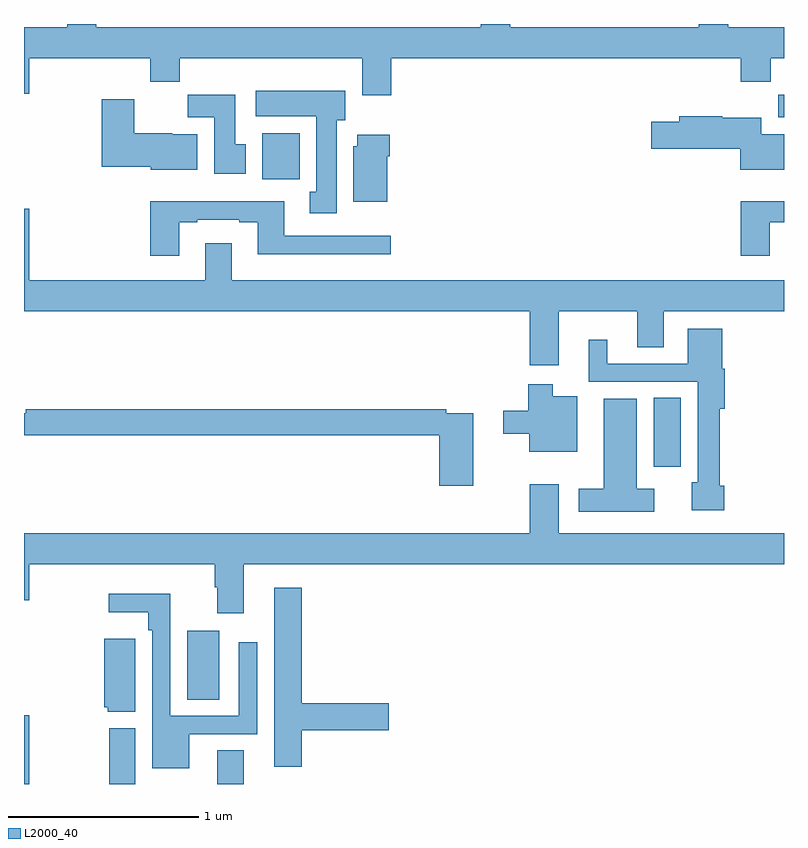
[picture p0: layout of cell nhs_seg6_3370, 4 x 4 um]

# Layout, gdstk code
import gdstk
lib = gdstk.Library(unit=1e-6, precision=1e-09)
def R(c, l, rs):  # rectangles x0, y0, x1, y1
    for r in rs: c.add(gdstk.rectangle(r[:2], r[2:], *l))
def P(c, l, *ps):  # polygons
    for p in ps: c.add(gdstk.Polygon(p, *l))
L2000_40 = (2000, 40)

nhs_seg6_3370 = lib.new_cell('nhs_seg6_3370')
R(nhs_seg6_3370, L2000_40, [(309,959.5,309.028,959.863), (309.448,959.5,309.586,959.794), (310.016,959.5,310.156,959.678), (309.86,959.944,310.027,960.307), (312.314,961.17,312.457,961.532), (310.253,962.684,310.45,962.926), (312.97,963.008,313,963.127)])
P(nhs_seg6_3370, L2000_40, [(310.934,963.32),(312.773,963.32),(312.773,963.196),(312.929,963.196),(312.929,963.32),(313,963.32),(313,963.484),(312.707,963.484),(312.707,963.5),(312.551,963.5),(312.551,963.484),(311.558,963.484),(311.558,963.5),(311.405,963.5),(311.405,963.484),(309.38,963.484),(309.38,963.5),(309.227,963.5),(309.227,963.484),(309,963.484),(309,963.132),(309.028,963.132),(309.028,963.32),(309.665,963.32),(309.665,963.196),(309.821,963.196),(309.821,963.32),(310.781,963.32),(310.781,963.126),(310.934,963.126)],
  [(310.645,962.994),(310.69,962.994),(310.69,963.148),(310.221,963.148),(310.221,963.014),(310.538,963.014),(310.538,962.618),(310.505,962.618),(310.505,962.505),(310.645,962.505)],
  [(310.168,962.868),(310.111,962.868),(310.111,963.127),(309.862,963.127),(309.862,963.008),(310.001,963.008),(310.001,962.712),(310.168,962.712)],
  [(309.913,962.92),(309.78,962.92),(309.78,962.926),(309.58,962.926),(309.58,963.103),(309.41,963.103),(309.41,962.75),(309.666,962.75),(309.666,962.732),(309.913,962.732)],
  [(313,962.92),(312.88,962.92),(312.88,963.007),(312.674,963.007),(312.674,963.015),(312.449,963.015),(312.449,962.985),(312.3,962.985),(312.3,962.843),(312.77,962.843),(312.77,962.732),(313,962.732)],
  [(310.912,962.804),(310.925,962.804),(310.925,962.917),(310.754,962.917),(310.754,962.856),(310.733,962.856),(310.733,962.564),(310.912,962.564)],
  [(312.925,962.457),(313,962.457),(313,962.566),(312.773,962.566),(312.773,962.28),(312.925,962.28)],
  [(309.817,962.457),(309.913,962.457),(309.913,962.469),(310.133,962.469),(310.133,962.457),(310.229,962.457),(310.229,962.288),(310.93,962.288),(310.93,962.385),(310.369,962.385),(310.369,962.566),(309.665,962.566),(309.665,962.28),(309.817,962.28)],
  [(310.093,962.347),(309.953,962.347),(309.953,962.152),(309.028,962.152),(309.028,962.527),(309,962.527),(309,961.988),(311.663,961.988),(311.663,961.704),(311.815,961.704),(311.815,961.988),(312.227,961.988),(312.227,961.798),(312.367,961.798),(312.367,961.988),(313,961.988),(313,962.152),(310.093,962.152)],
  [(312.686,961.071),(312.662,961.071),(312.662,961.475),(312.689,961.475),(312.689,961.686),(312.676,961.686),(312.676,961.897),(312.494,961.897),(312.494,961.713),(312.07,961.713),(312.07,961.837),(311.972,961.837),(311.972,961.617),(312.546,961.617),(312.546,961.089),(312.515,961.089),(312.515,960.941),(312.686,960.941)],
  [(311.911,961.54),(311.782,961.54),(311.782,961.603),(311.653,961.603),(311.653,961.465),(311.523,961.465),(311.523,961.343),(311.66,961.343),(311.66,961.25),(311.911,961.25)],
  [(312.316,961.054),(312.226,961.054),(312.226,961.528),(312.05,961.528),(312.05,961.054),(311.919,961.054),(311.919,960.932),(312.316,960.932)],
  [(311.364,961.452),(311.222,961.452),(311.222,961.472),(309.01,961.472),(309.01,961.452),(309,961.452),(309,961.336),(311.186,961.336),(311.186,961.071),(311.364,961.071)],
  [(310.156,960.656),(313,960.656),(313,960.82),(311.815,960.82),(311.815,961.078),(311.663,961.078),(311.663,960.82),(309,960.82),(309,960.468),(309.028,960.468),(309.028,960.656),(310.004,960.656),(310.004,960.536),(310.016,960.536),(310.016,960.399),(310.156,960.399)],
  [(310.463,959.782),(310.921,959.782),(310.921,959.924),(310.463,959.924),(310.463,960.532),(310.316,960.532),(310.316,959.592),(310.463,959.592)],
  [(309.871,959.763),(310.227,959.763),(310.227,960.247),(310.131,960.247),(310.131,959.859),(309.771,959.859),(309.771,960.502),(309.447,960.502),(309.447,960.404),(309.655,960.404),(309.655,960.308),(309.675,960.308),(309.675,959.582),(309.871,959.582)],
  [(309.586,960.265),(309.422,960.265),(309.422,959.904),(309.441,959.904),(309.441,959.879),(309.586,959.879)])

lib.write_gds('nhs_seg6_3370.gds')
